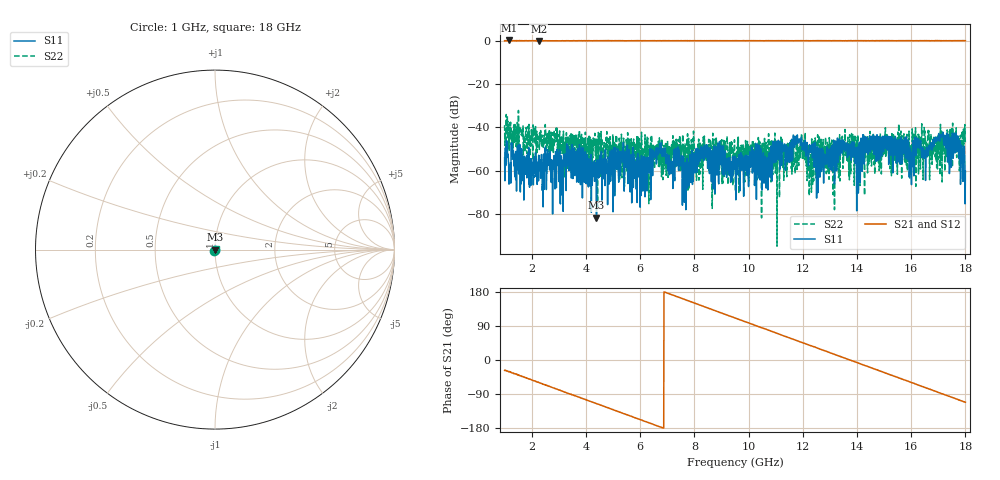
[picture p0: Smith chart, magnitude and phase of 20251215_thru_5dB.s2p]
#  HZ  S  DB  R  50.00
! Rohde & Schwarz ZVA40 4Ports - Version 4.11 - 1145.1110k42 SN: 100337
! Date: 2025-12-16 12:52:20
! Measurements: S11 S41 S14 S44
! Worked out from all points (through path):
!   1701 points, 1 GHz to 18 GHz, reference 50 ohm
!   highest |S21| = 0.15 dB at 1.15 GHz (marker M1); lowest = -0.1 dB at 2.26 GHz (marker M2)
!   group delay of S21, straight-line fit = 72.7 ps
!   lowest |S11| = -81.8 dB at 4.39 GHz (marker M3), VSWR 1.00, Z = 50 + j0.00349 ohm
!   |S11| at or under -10 dB: start of sweep to end of sweep
!   |S22| runs from -94.9 to -32.2 dB; largest |S21 - S12| = 0.027
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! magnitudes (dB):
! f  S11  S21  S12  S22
! 1 GHz  -54.2  0.0  0.0  -39.0
! 1.15 GHz  -57.8  0.2  -0.1  -47.5
! 2.26 GHz  -52.9  -0.1  -0.1  -45.0
! 3.84 GHz  -49.3  0.1  0.0  -43.2
! 4.39 GHz  -81.8  0.0  0.0  -49.4
! 5.3 GHz  -51.8  0.1  0.0  -53.7
! 6.18 GHz  -72.1  0.1  0.0  -43.5
! 6.67 GHz  -52.3  0.0  0.0  -46.5
! 7.38 GHz  -53.4  0.1  0.0  -49.9
! 7.64 GHz  -59.4  0.0  0.0  -50.3
! 8.39 GHz  -50.8  0.0  0.0  -48.3
! 9.5 GHz  -53.2  0.0  0.0  -51.9
! 10.65 GHz  -68.1  0.0  0.0  -54.9
! 11.73 GHz  -45.0  0.1  0.0  -58.5
! 12.34 GHz  -50.0  0.0  0.0  -55.7
! 13.81 GHz  -48.5  0.0  0.0  -44.5
! 14.05 GHz  -70.4  0.0  0.0  -69.6
! 14.29 GHz  -44.2  0.0  0.0  -44.6
! 15.17 GHz  -57.1  0.1  0.0  -51.1
! 16.01 GHz  -66.5  0.1  0.0  -48.5
! 17.1 GHz  -44.1  0.1  -0.1  -44.2
! 18 GHz  -60.3  0.1  0.0  -47.6
